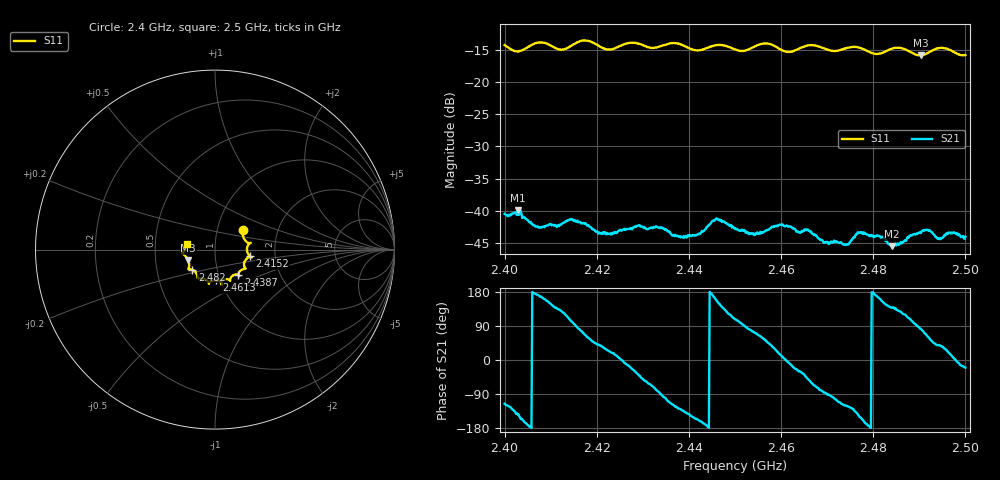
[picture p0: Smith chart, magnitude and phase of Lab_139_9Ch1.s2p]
# Hz S RI R 50
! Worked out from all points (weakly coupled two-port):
!   601 points, 2.4 GHz to 2.5 GHz, reference 50 ohm
!   highest |S21| = -39.85 dB at 2.4028 GHz (marker M1); lowest = -45.5 dB at 2.484 GHz (marker M2)
!   lowest |S11| = -15.9 dB at 2.4903 GHz (marker M3), VSWR 1.38, Z = 36.8 - j4.45 ohm
!   |S11| at or under -10 dB: start of sweep to end of sweep
!   S12 and S22 are empty: the file has one direction only
!   S11 on the Smith chart (normalised r, x): 2.4 GHz: 1.33, +0.31; 2.4152 GHz: 1.48, -0.11; 2.4387 GHz: 1.24, -0.37; 2.4613 GHz: 0.96, -0.34; 2.482 GHz: 0.76, -0.17; 2.5 GHz: 0.73, +0.05
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2.4e9  0.1577 0.1117  -0.00407 -0.00858  0 0  0 0
2.402833e9  0.1596 0.065  -0.00822 -0.006  0 0  0 0
2.4075e9  0.199 0.037  -0.00729 0.00133  0 0  0 0
2.412167e9  0.178 0.00383  -0.00504 0.00594  0 0  0 0
2.415167e9  0.1941 -0.0374  -0.000601 0.00832  0 0  0 0
2.416667e9  0.2038 -0.0437  0.00192 0.00774  0 0  0 0
2.4225e9  0.1658 -0.0655  0.00608 0.00276  0 0  0 0
2.433333e9  0.1325 -0.1318  0.000841 -0.00738  0 0  0 0
2.438667e9  0.1305 -0.1418  -0.00425 -0.00456  0 0  0 0
2.445833e9  0.0836 -0.1736  -0.00813 0.00304  0 0  0 0
2.45e9  0.069 -0.165  -0.00221 0.00703  0 0  0 0
2.456833e9  0.0377 -0.1951  0.00464 0.0053  0 0  0 0
2.461333e9  0.00775 -0.1708  0.00765 -0.000401  0 0  0 0
2.466667e9  -0.0346 -0.1899  0.00322 -0.00588  0 0  0 0
2.474e9  -0.087 -0.1602  -0.00272 -0.00472  0 0  0 0
2.477e9  -0.0964 -0.1575  -0.00585 -0.00341  0 0  0 0
2.482e9  -0.126 -0.1116  -0.00567 0.00272  0 0  0 0
2.483333e9  -0.1397 -0.1088  -0.00436 0.0034  0 0  0 0
2.484e9  -0.1447 -0.1088  -0.00397 0.00356  0 0  0 0
2.490333e9  -0.1495 -0.059  0.000911 0.00667  0 0  0 0
2.494833e9  -0.1828 -0.0199  0.00493 0.00366  0 0  0 0
2.5e9  -0.1583 0.033  0.00592 -0.00218  0 0  0 0
